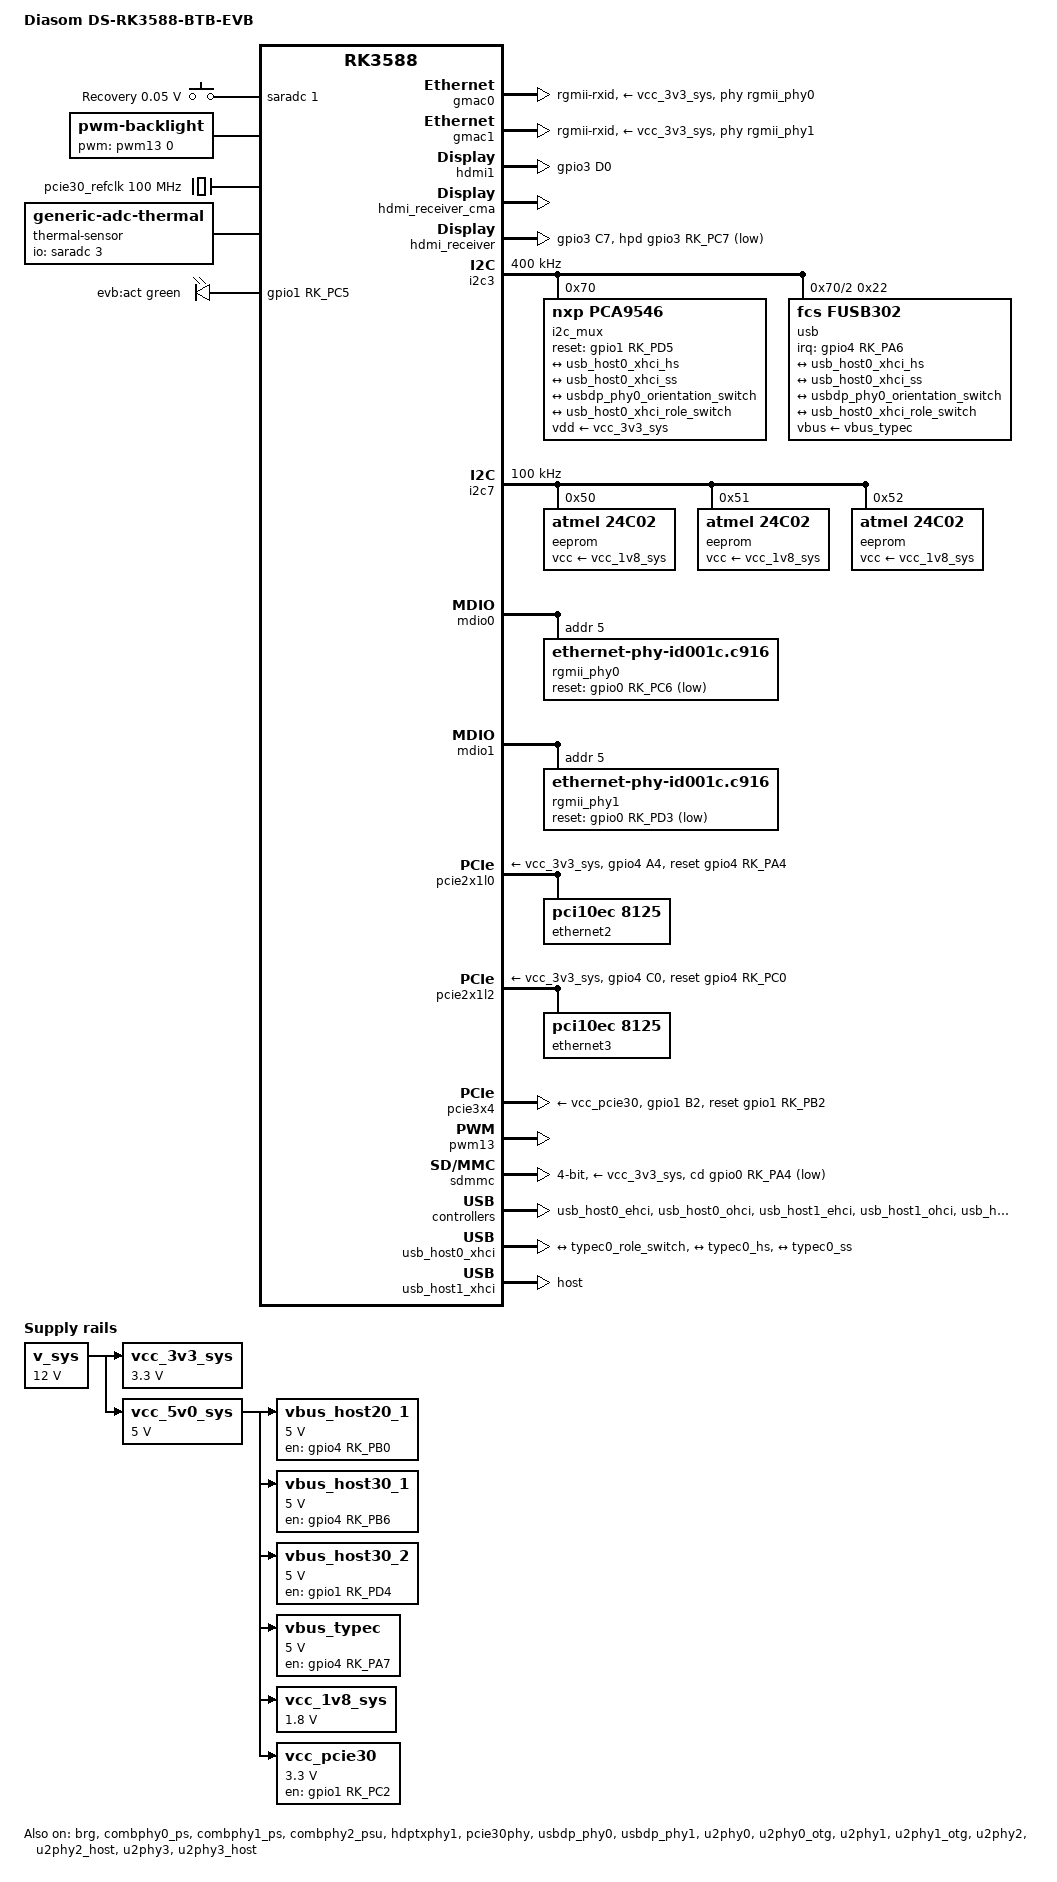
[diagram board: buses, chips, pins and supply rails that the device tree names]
/* SPDX-License-Identifier: GPL-2.0+ */
/* SPDX-FileCopyrightText: Alexander Shiyan <shc_work@mail.ru> */

/dts-v1/;

#include <dt-bindings/input/input.h>
#include <dt-bindings/soc/rockchip,vop2.h>

#include "rk3588-diasom-btb.dtsi"

/ {
	model = "Diasom DS-RK3588-BTB-EVB";
	compatible = "diasom,ds-rk3588-btb-evb",
		     "diasom,ds-rk3588-btb",
		     "rockchip,rk3588";

	aliases {
		ethernet0 = &gmac0;
		ethernet1 = &gmac1;
		ethernet2 = &ethernet2;
		ethernet3 = &ethernet3;
		i2c9 = &i2c9;
		i2c10 = &i2c10;
		i2c11 = &i2c11;
		i2c12 = &i2c12;
		mmc1 = &sdmmc;
	};

	chosen {
		environment-sd {
			compatible = "barebox,environment";
			device-path = &sdmmc, "partname:env";
			status = "disabled";
		};
	};

	adc-keys-1 {
		compatible = "adc-keys";
		io-channels = <&saradc 1>;
		io-channel-names = "buttons";
		keyup-threshold-microvolt = <1750000>;
		poll-interval = <100>;

		recovery {
			label = "Recovery";
			linux,code = <KEY_VENDOR>;
			press-threshold-microvolt = <50000>;
		};
	};

	backlight: backlight {
		compatible = "pwm-backlight";
		pwms = <&pwm13 0 1000 0>;
		brightness-levels = <0 255>;
		num-interpolated-steps = <256>;
		default-brightness-level = <224>;
	};

	pcie30_refclk: pcie30-refclk-clock {
		pinctrl-names = "default";
		pinctrl-0 = <&pcie30_clk_pins>;
		compatible = "gated-fixed-clock";
		clock-frequency = <100000000>;
		clock-output-names = "pcie30_refclk";
		enable-gpios = <&gpio1 RK_PB3 GPIO_ACTIVE_HIGH>;
		#clock-cells = <0>;
	};

	thermal-sensor {
		compatible = "generic-adc-thermal";
		#thermal-sensor-cells = <0>;
		io-channels = <&saradc 3>;
		io-channel-names = "sensor-channel";
		temperature-lookup-table = <0 603
					    25000 1309
					    50000 2172
					    75000 2905>;
	};

	v_sys: v-sys-regulator {
		compatible = "regulator-fixed";
		regulator-name = "v_sys";
		regulator-always-on;
		regulator-boot-on;
		regulator-min-microvolt = <12000000>;
		regulator-max-microvolt = <12000000>;
	};

	vbus_host20_1: vbus-host20-1-regulator {
		pinctrl-names = "default";
		pinctrl-0 = <&host20_1_pins>;
		compatible = "regulator-fixed";
		enable-active-high;
		gpio = <&gpio4 RK_PB0 GPIO_ACTIVE_HIGH>;
		regulator-name = "vbus_host20_1";
		regulator-min-microvolt = <5000000>;
		regulator-max-microvolt = <5000000>;
		vin-supply = <&vcc_5v0_sys>;
	};

	vbus_host30_1: vbus-host30-1-regulator {
		pinctrl-names = "default";
		pinctrl-0 = <&host30_1_pins>;
		compatible = "regulator-fixed";
		enable-active-high;
		gpio = <&gpio4 RK_PB6 GPIO_ACTIVE_HIGH>;
		regulator-name = "vbus_host30_1";
		regulator-always-on;
		regulator-boot-on;
		regulator-min-microvolt = <5000000>;
		regulator-max-microvolt = <5000000>;
		vin-supply = <&vcc_5v0_sys>;
	};

	vbus_host30_2: vbus-host30-2-regulator {
		pinctrl-names = "default";
		pinctrl-0 = <&host30_2_pins>;
		compatible = "regulator-fixed";
		enable-active-high;
		gpio = <&gpio1 RK_PD4 GPIO_ACTIVE_HIGH>;
		regulator-name = "vbus_host30_2";
		regulator-always-on;
		regulator-boot-on;
		regulator-min-microvolt = <5000000>;
		regulator-max-microvolt = <5000000>;
		vin-supply = <&vcc_5v0_sys>;
	};

	vbus_typec: vbus-typec-regulator {
		pinctrl-names = "default";
		pinctrl-0 = <&typec_pins>;
		compatible = "regulator-fixed";
		enable-active-high;
		gpio = <&gpio4 RK_PA7 GPIO_ACTIVE_HIGH>;
		regulator-name = "vbus_typec";
		regulator-min-microvolt = <5000000>;
		regulator-max-microvolt = <5000000>;
		vin-supply = <&vcc_5v0_sys>;
	};

	vcc_1v8_sys: vcc-1v8_sys-regulator {
		compatible = "regulator-fixed";
		regulator-name = "vcc_1v8_sys";
		regulator-always-on;
		regulator-boot-on;
		regulator-min-microvolt = <1800000>;
		regulator-max-microvolt = <1800000>;
		vin-supply = <&vcc_5v0_sys>;
	};

	vcc_3v3_sys: vcc-3v3_sys-regulator {
		compatible = "regulator-fixed";
		regulator-name = "vcc_3v3_sys";
		regulator-always-on;
		regulator-boot-on;
		regulator-min-microvolt = <3300000>;
		regulator-max-microvolt = <3300000>;
		vin-supply = <&v_sys>;
	};

	vcc_5v0_sys: vcc-5v03_sys-regulator {
		compatible = "regulator-fixed";
		regulator-name = "vcc_5v0_sys";
		regulator-always-on;
		regulator-boot-on;
		regulator-min-microvolt = <5000000>;
		regulator-max-microvolt = <5000000>;
		vin-supply = <&v_sys>;
	};

	vcc_pcie30: vcc-pcie30-regulator {
		pinctrl-names = "default";
		pinctrl-0 = <&pcie30_vcc_pins>;
		compatible = "regulator-fixed";
		enable-active-high;
		gpio = <&gpio1 RK_PC2 GPIO_ACTIVE_HIGH>;
		regulator-name = "vcc_pcie30";
		regulator-min-microvolt = <3300000>;
		regulator-max-microvolt = <3300000>;
		vin-supply = <&vcc_5v0_sys>;
	};
};

&brg {
	pinctrl-names = "default";
	pinctrl-0 = <&lvds_pins>;
	panel-enable-gpios = <&gpio1 RK_PC4 GPIO_ACTIVE_HIGH>;
	panel-reset-gpios = <&gpio3 RK_PD5 GPIO_ACTIVE_LOW>;
	panel-backlight = <&backlight>;
	panel-reset-delay-ms = <10>;
	panel-enable-delay-ms = <10>;
	panel-prepare-delay-ms = <60>;
	panel-unprepare-delay-ms = <10>;
	panel-disable-delay-ms = <60>;
	status = "okay";

	rk628-lvds-out {
		bus-format = "vesa_24";
		link-type = "dual_link_odd_even_pixels";
	};

	display-timings {
		/* COG-TA25F325P-L5 */

		src-timing {
			clock-frequency = <74250000>;
			hactive = <1920>;
			vactive = <720>;
			hfront-porch = <56>;
			hsync-len = <12>;
			hback-porch = <16>;
			vfront-porch = <16>;
			vsync-len = <3>;
			vback-porch = <24>;
			hsync-active = <1>;
			vsync-active = <1>;
			de-active = <1>;
			pixelclk-active = <0>;
		};

		dst-timing {
			clock-frequency = <74250000>;
			hactive = <1920>;
			vactive = <720>;
			hfront-porch = <56>;
			hsync-len = <12>;
			hback-porch = <16>;
			vfront-porch = <16>;
			vsync-len = <3>;
			vback-porch = <24>;
			hsync-active = <0>;
			vsync-active = <0>;
			de-active = <1>;
			pixelclk-active = <0>;
		};
	};
};

&combphy0_ps {
	/* pcie2x1l2 (PCIE20_0) */
	status = "okay";
};

&combphy1_ps {
	/* pcie2x1l0 (PCIE20_1) */
	status = "okay";
};

&combphy2_psu {
	/* usb_host2_xhci (USB3_HOST2) */
	status = "okay";
};

&gmac0 {
	pinctrl-names = "default";
	pinctrl-0 = <&gmac0_miim &gmac0_tx_bus2 &gmac0_rx_bus2
		     &gmac0_rgmii_clk &gmac0_rgmii_bus>;
	clock_in_out = "output";
	phy-handle = <&rgmii_phy0>;
	phy-mode = "rgmii-rxid";
	phy-supply = <&vcc_3v3_sys>;
	rx_delay = <0x00>;
	tx_delay = <0x44>;
//	nvmem-cells = <&mac0>;
//	nvmem-cell-names = "mac-address";
	status = "okay";
};

&gmac1 {
	pinctrl-names = "default";
	pinctrl-0 = <&gmac1_miim &gmac1_tx_bus2 &gmac1_rx_bus2
		     &gmac1_rgmii_clk &gmac1_rgmii_bus>;
	clock_in_out = "output";
	phy-handle = <&rgmii_phy1>;
	phy-mode = "rgmii-rxid";
	phy-supply = <&vcc_3v3_sys>;
	rx_delay = <0x00>;
	tx_delay = <0x44>;
	nvmem-cells = <&mac1>;
	nvmem-cell-names = "mac-address";
	status = "okay";
};

&hdmi1 {
	/* Disable CEC pin, Enable PWR_ON */
	pinctrl-0 = <&hdmim1_tx1_hpd &hdmim1_tx1_scl
		     &hdmim1_tx1_sda &hdmi1_tx_on>;
	enable-gpios = <&gpio3 RK_PD0 GPIO_ACTIVE_HIGH>;
	status = "okay";
};

&hdptxphy1 {
	status = "okay";
};

&hdmi1_in {
	hdmi1_in_vp1: endpoint {
		remote-endpoint = <&vp1_out_hdmi1>;
	};
};

&hdmi1_out {
	hdmi1_out_con: endpoint {
		remote-endpoint = <&hdmi1_con_in>;
	};
};

&hdmi_receiver_cma {
	status = "okay";
};

&hdmi_receiver {
	/* CEC is not connected */
	pinctrl-names = "default";
	pinctrl-0 = <&hdmim1_rx_scl &hdmim1_rx_sda
		     &hdmim1_rx_hpdin &hdmirx_det>;
	hpd-gpios = <&gpio3 RK_PC7 GPIO_ACTIVE_LOW>;
	status = "okay";
};

&i2c3 {
	clock-frequency = <400000>;
	status = "okay";

	i2c_mux: i2c-mux@70 {
		pinctrl-names = "default";
		pinctrl-0 = <&mux_pins>;
		compatible = "nxp,pca9546";
		reg = <0x70>;
		i2c-mux-idle-disconnect;
		reset-gpios = <&gpio1 RK_PD5 GPIO_ACTIVE_HIGH>;
		vdd-supply = <&vcc_3v3_sys>;
		#address-cells = <1>;
		#size-cells = <0>;

		i2c9: i2c@0 {
			reg = <0>;
			#address-cells = <1>;
			#size-cells = <0>;
		};

		i2c10: i2c@1 {
			reg = <1>;
			#address-cells = <1>;
			#size-cells = <0>;
		};

		i2c11: i2c@2 {
			reg = <2>;
			#address-cells = <1>;
			#size-cells = <0>;

			usb@22 {
				pinctrl-names = "default";
				pinctrl-0 = <&fusb302_pins>;
				compatible = "fcs,fusb302";
				reg = <0x22>;
				interrupt-parent = <&gpio4>;
				interrupts = <RK_PA6 IRQ_TYPE_LEVEL_LOW>;
				vbus-supply = <&vbus_typec>;

				connector {
					compatible = "usb-c-connector";
					label = "USB-C";
					data-role = "dual";
					pd-disable;
					power-role = "source";
					typec-power-opmode = "default";

					ports {
						#address-cells = <1>;
						#size-cells = <0>;

						port@0 {
							/* HS */
							reg = <0>;

							typec0_hs: endpoint {
								remote-endpoint = <&usb_host0_xhci_hs>;
							};
						};

						port@1 {
							/* SS */
							reg = <1>;

							typec0_ss: endpoint {
								remote-endpoint = <&usb_host0_xhci_ss>;
							};
						};

						port@2 {
							/* Orientation Switch */
							reg = <2>;

							typec0_orientation_switch: endpoint {
								remote-endpoint = <&usbdp_phy0_orientation_switch>;
							};
						};
					};
				};

				port {
					/* Role Switch */
					typec0_role_switch: endpoint {
						remote-endpoint = <&usb_host0_xhci_role_switch>;
					};
				};
			};
		};

		i2c12: i2c@3 {
			reg = <3>;
			#address-cells = <1>;
			#size-cells = <0>;
		};
	};
};

&i2c7 {
	clock-frequency = <100000>;
	status = "okay";

	/* 24aa025e48 */
	eeprom@50 {
		compatible = "atmel,24c02";
		reg = <0x50>;
		pagesize = <16>;
		vcc-supply = <&vcc_1v8_sys>;

		nvmem-layout {
			compatible = "fixed-layout";
			#address-cells = <1>;
			#size-cells = <1>;

			mac1: mac-address@fa {
				reg = <0xfa 0x06>;
				read-only;
			};
		};
	};

	/* 24aa025e48 */
	eeprom@51 {
		compatible = "atmel,24c02";
		reg = <0x51>;
		pagesize = <16>;
		vcc-supply = <&vcc_1v8_sys>;

		nvmem-layout {
			compatible = "fixed-layout";
			#address-cells = <1>;
			#size-cells = <1>;

			mac2: mac-address@fa {
				reg = <0xfa 0x06>;
				read-only;
			};
		};
	};

	/* 24aa025e48 */
	eeprom@52 {
		compatible = "atmel,24c02";
		reg = <0x52>;
		pagesize = <16>;
		vcc-supply = <&vcc_1v8_sys>;

		nvmem-layout {
			compatible = "fixed-layout";
			#address-cells = <1>;
			#size-cells = <1>;

			mac3: mac-address@fa {
				reg = <0xfa 0x06>;
				read-only;
			};
		};
	};
};

&leds {
	pinctrl-0 = <&leds_som_pins &leds_evb_pins>;

	led-act {
		label = "evb:act";
		gpios = <&gpio1 RK_PC5 GPIO_ACTIVE_HIGH>;
		function = LED_FUNCTION_ACTIVITY;
		color = <LED_COLOR_ID_GREEN>;
		linux,default-trigger = LED_FUNCTION_ACTIVITY;
		default-state = "off";
	};
};

&mdio0 {
	rgmii_phy0: ethernet-phy@5 {
		/* RTL8211F DD13 */
		pinctrl-names = "default";
		pinctrl-0 = <&gmac0_rst_pins &eth0_pins>;
		compatible = "ethernet-phy-id001c.c916";
		reg = <0x5>;
		clocks = <&cru REFCLKO25M_ETH0_OUT>;
		reset-assert-us = <20000>;
		reset-deassert-us = <100000>;
		reset-gpios = <&gpio0 RK_PC6 GPIO_ACTIVE_LOW>;
	};
};

&mdio1 {
	rgmii_phy1: ethernet-phy@5 {
		/* RTL8211F DD14 */
		pinctrl-names = "default";
		pinctrl-0 = <&gmac1_rst_pins &eth1_pins>;
		compatible = "ethernet-phy-id001c.c916";
		reg = <0x5>;
		clocks = <&cru REFCLKO25M_ETH1_OUT>;
		reset-assert-us = <20000>;
		reset-deassert-us = <100000>;
		reset-gpios = <&gpio0 RK_PD3 GPIO_ACTIVE_LOW>;
	};
};

&pcie2x1l0 {
	/* PCIE20_1 */
	pinctrl-names = "default";
	pinctrl-0 = <&pcie2x1l0_pins &pcie30x1m1_0_clkreqn>;
	/* &pcie30x1m1_0_waken disabled (swapped with rst) */
	reset-gpios = <&gpio4 RK_PA4 GPIO_ACTIVE_HIGH>;
	vpcie3v3-supply = <&vcc_3v3_sys>;
	status = "okay";

	pcie@0,0 {
		reg = <0x200000 0 0 0 0>;
		ranges;
		device_type = "pci";
		bus-range = <0x20 0x2f>;
		#address-cells = <3>;
		#size-cells = <2>;

		ethernet2: ethernet@0,0 {
			/* RTL8125BI-CG DD12 */
			compatible = "pci10ec,8125";
			reg = <0x210000 0 0 0 0>;
			nvmem-cells = <&mac2>;
			nvmem-cell-names = "mac-address";
		};
	};
};

&pcie2x1l2 {
	/* PCIE20_0 */
	pinctrl-names = "default";
	pinctrl-0 = <&pcie2x1l2_pins &pcie20x1m1_clkreqn>;
	/* &pcie20x1m1_waken disabled (swapped with rst) */
	reset-gpios = <&gpio4 RK_PC0 GPIO_ACTIVE_HIGH>;
	vpcie3v3-supply = <&vcc_3v3_sys>;
	status = "okay";

	pcie@0,0 {
		reg = <0x400000 0 0 0 0>;
		ranges;
		device_type = "pci";
		bus-range = <0x40 0x4f>;
		#address-cells = <3>;
		#size-cells = <2>;

		ethernet3: ethernet@0,0 {
			/* RTL8125BI-CG DD8 */
			compatible = "pci10ec,8125";
			reg = <0x410000 0 0 0 0>;
			nvmem-cells = <&mac3>;
			nvmem-cell-names = "mac-address";
		};
	};
};

&pcie30phy {
	status = "okay";
};

&pcie3x4 {
	pinctrl-names = "default";
	pinctrl-0 = <&pcie3x4_pins &pcie30x4m3_clkreqn &pcie30x4m3_waken>;
	clocks = <&cru ACLK_PCIE_4L_MSTR>, <&cru ACLK_PCIE_4L_SLV>,
		 <&cru ACLK_PCIE_4L_DBI>, <&cru PCLK_PCIE_4L>,
		 <&cru CLK_PCIE_AUX0>, <&cru CLK_PCIE4L_PIPE>,
		 <&pcie30_refclk>;
	clock-names = "aclk_mst", "aclk_slv",
		      "aclk_dbi", "pclk",
		      "aux", "pipe",
		      "ref";
	reset-gpios = <&gpio1 RK_PB2 GPIO_ACTIVE_HIGH>;
	vpcie3v3-supply = <&vcc_pcie30>;
	status = "okay";
};

&pwm13 {
	status = "okay";
};

&sdmmc {
	bus-width = <4>;
	cap-mmc-highspeed;
	cap-sd-highspeed;
	disable-wp;
	no-sdio;
	no-mmc;
	sd-uhs-sdr104;
	cd-gpios = <&gpio0 RK_PA4 GPIO_ACTIVE_LOW>;
	vmmc-supply = <&vcc_3v3_sys>;
	vqmmc-supply = <&vccio_sd>;
	status = "okay";
};

&usb_host0_ehci {
	/* USB3_HOST0 EHCI-mode X25.2 (Upper) */
	status = "okay";
};

&usb_host0_ohci {
	/* USB3_HOST0 OHCI-mode X25.2 (Upper) */
	status = "okay";
};

&usb_host0_xhci {
	/* USB3_HOST0 XHCI-mode X28 */
	usb-role-switch;
	status = "okay";

	port {
		/* Role Switch */
		usb_host0_xhci_role_switch: endpoint {
			remote-endpoint = <&typec0_role_switch>;
		};
	};

	ports {
		#address-cells = <1>;
		#size-cells = <0>;

		port@0 {
			/* HS */
			reg = <0>;

			usb_host0_xhci_hs: endpoint {
				remote-endpoint = <&typec0_hs>;
			};
		};

		port@1 {
			/* SS */
			reg = <1>;

			usb_host0_xhci_ss: endpoint {
				remote-endpoint = <&typec0_ss>;
			};
		};
	};
};

&usb_host1_ehci {
	/* USB20_HOST1 EHCI-mode X27 */
	status = "okay";
};

&usb_host1_ohci {
	/* USB20_HOST1 OHCI-mode X27 */
	status = "okay";
};

&usb_host1_xhci {
	/* USB3_HOST1 X25.1 (Lower) */
	dr_mode = "host";
	status = "okay";
};

&usb_host2_xhci {
	/* USB3_HOST2 XHCI-mode X25.2 (Upper) */
	status = "okay";
};

&usbdp_phy0 {
	pinctrl-names = "default";
	pinctrl-0 = <&sbu_pins>;
	orientation-switch;
	sbu1-dc-gpios = <&gpio0 RK_PC5 GPIO_ACTIVE_HIGH>;
	sbu2-dc-gpios = <&gpio0 RK_PC4 GPIO_ACTIVE_HIGH>;
	status = "okay";

	port {
		/* Orientation Switch */
		usbdp_phy0_orientation_switch: endpoint {
			remote-endpoint = <&typec0_orientation_switch>;
		};
	};
};

&usbdp_phy1 {
	status = "okay";
};

&u2phy0 {
	status = "okay";
};

&u2phy0_otg {
	status = "okay";
};

&u2phy1 {
	status = "okay";
};

&u2phy1_otg {
	status = "okay";
};

&u2phy2 {
	status = "okay";
};

&u2phy2_host {
	status = "okay";
};

&u2phy3 {
	status = "okay";
};

&u2phy3_host {
	phy-supply = <&vbus_host20_1>;
	status = "okay";
};

&vcc4v0_sys {
	vin-supply = <&v_sys>;
};

&pinctrl {
	brg {
		lvds_pins: lvds-pins {
			rockchip,pins =
				<1 RK_PA5 RK_FUNC_GPIO &pcfg_pull_none>,	/* LCD_PWREN */
				<3 RK_PD5 RK_FUNC_GPIO &pcfg_pull_none>,	/* LCD_nRESET */
				<1 RK_PC4 RK_FUNC_GPIO &pcfg_pull_none>;	/* LCD_nSTBYB */
		};
	};

	hdmi {
		hdmirx_det: hdmirx-det-pins {
			rockchip,pins =
				<3 RK_PC7 RK_FUNC_GPIO &pcfg_pull_none>;	/* HDMI_RX_DET_L */
		};

		hdmi1_tx_on: hdmi1-tx-on-pins {
			rockchip,pins =
				<3 RK_PD0 RK_FUNC_GPIO &pcfg_pull_none>;	/* HDMI_TX_ON_H */
		};
	};

	leds {
		leds_evb_pins: leds-evb-pins {
			rockchip,pins =
				<1 RK_PC5 RK_FUNC_GPIO &pcfg_pull_none>;	/* VD19 */
		};
	};

	mux {
		mux_pins: mux-pins {
			rockchip,pins =
				<1 RK_PD5 RK_FUNC_GPIO &pcfg_pull_up>;		/* CAM_I2C_MUX_RST */
		};
	};

	net {
		gmac0_rst_pins: gmac0-rst-pins {
			rockchip,pins =
				<0 RK_PC6 RK_FUNC_GPIO &pcfg_pull_none>;	/* GMAC0_RST */
		};

		gmac1_rst_pins: gmac1-rst-pins {
			rockchip,pins =
				<0 RK_PD3 RK_FUNC_GPIO &pcfg_pull_none>;	/* GMAC1_RST */
		};
	};

	pcie {
		pcie2x1l0_pins: pcie2x1l0-pins {
			rockchip,pins =
				<4 RK_PA4 RK_FUNC_GPIO &pcfg_pull_none>;	/* PERSTB_RTL1 */
		};

		pcie2x1l2_pins: pcie2x1l2-pins {
			rockchip,pins =
				<4 RK_PC0 RK_FUNC_GPIO &pcfg_pull_none>;	/* PERSTB_RTL0 */
		};

		pcie30_clk_pins: pcie30-clk-pins {
			rockchip,pins =
				<1 RK_PB3 RK_FUNC_GPIO &pcfg_pull_none>;	/* PCIE30_CLK_PWREN */
		};

		pcie30_vcc_pins: pcie30-vcc-pins {
			rockchip,pins =
				<1 RK_PC2 RK_FUNC_GPIO &pcfg_pull_none>;	/* PCIE30_PWREN */
		};

		pcie3x4_pins: pci3x4-pins {
			rockchip,pins =
				<1 RK_PB2 RK_FUNC_GPIO &pcfg_pull_none>;	/* pcie30x4_perstn_m3 */
		};
	};

	usb {
		fusb302_pins: fusb302-pins {
			rockchip,pins =
				<4 RK_PA6 RK_FUNC_GPIO &pcfg_pull_none>;	/* TYPEC0_INT */
		};

		host20_1_pins: host20-1-pins {
			rockchip,pins =
				<4 RK_PB0 RK_FUNC_GPIO &pcfg_pull_none>;	/* HOST20_PWREN */
		};

		host30_1_pins: host30-1-pins {
			rockchip,pins =
				<4 RK_PB6 RK_FUNC_GPIO &pcfg_pull_none>;	/* HOST30_1_PWREN */
		};

		host30_2_pins: host30-2-pins {
			rockchip,pins =
				<1 RK_PD4 RK_FUNC_GPIO &pcfg_pull_none>;	/* HOST30_2_PWREN */
		};

		sbu_pins: sbu-pins {
			rockchip,pins =
				<0 RK_PC4 RK_FUNC_GPIO &pcfg_pull_none>,	/* TYPEC0_SBU2_DC */
				<0 RK_PC5 RK_FUNC_GPIO &pcfg_pull_none>;	/* TYPEC0_SBU1_DC */
		};

		typec_pins: typec-pins {
			rockchip,pins =
				<4 RK_PA7 RK_FUNC_GPIO &pcfg_pull_none>;	/* TYPEC0_PWREN */
		};
	};
};
